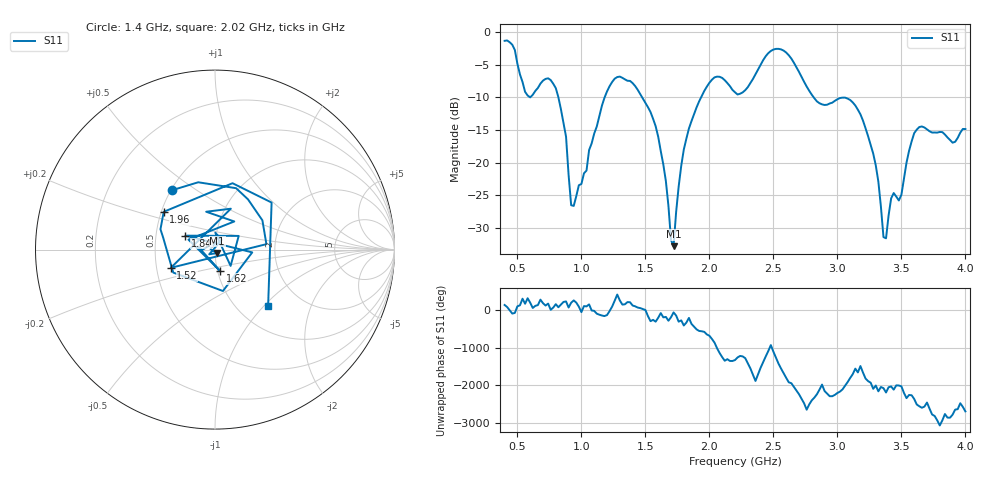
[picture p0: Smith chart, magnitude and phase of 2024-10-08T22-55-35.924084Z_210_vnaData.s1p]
! Created with skrf (http://scikit-rf.org).
# Hz S RI R 50.0
!freq ReS11 ImS11
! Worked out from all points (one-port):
!   181 points, 400 MHz to 4 GHz, reference 50 ohm
!   lowest |S11| = -32.9 dB at 1.72 GHz (marker M1), VSWR 1.05, Z = 51.2 - j1.99 ohm
!   |S11| at or under -10 dB: 820.4 MHz to 1.181 GHz (360.8 MHz wide, 36.1 % of centre); 1.475 GHz to 1.935 GHz (459.5 MHz wide, 27 % of centre); 2.815 GHz to end of sweep
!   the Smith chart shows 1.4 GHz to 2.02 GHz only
!   S11 on the Smith chart (normalised r, x): 1.4 GHz: 0.51, +0.40; 1.52 GHz: 0.59, -0.13; 1.62 GHz: 1.03, -0.25; 1.84 GHz: 0.71, +0.11; 1.96 GHz: 0.51, +0.25; 2.02 GHz: 1.36, -1.06
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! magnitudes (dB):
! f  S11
! 400 MHz  -1.3
! 580 MHz  -9.7
! 760 MHz  -7.3
! 860 MHz  -14.0
! 920 MHz  -26.6
! 940 MHz  -26.7
! 1.18 GHz  -10.1
! 1.3 GHz  -6.8
! 1.4 GHz  -7.8
! 1.52 GHz  -11.5
! 1.62 GHz  -18.2
! 1.72 GHz  -32.9
! 1.76 GHz  -23.7
! 1.84 GHz  -14.8
! 1.96 GHz  -9.0
! 2.02 GHz  -7.3
! 2.2 GHz  -9.2
! 2.5 GHz  -2.6
! 2.66 GHz  -4.7
! 2.86 GHz  -10.9
! 3.1 GHz  -10.4
! 3.28 GHz  -18.6
! 3.36 GHz  -31.5
! 3.42 GHz  -25.5
! 3.5 GHz  -25.0
! 3.56 GHz  -18.2
! 3.64 GHz  -14.5
! 4 GHz  -14.9
